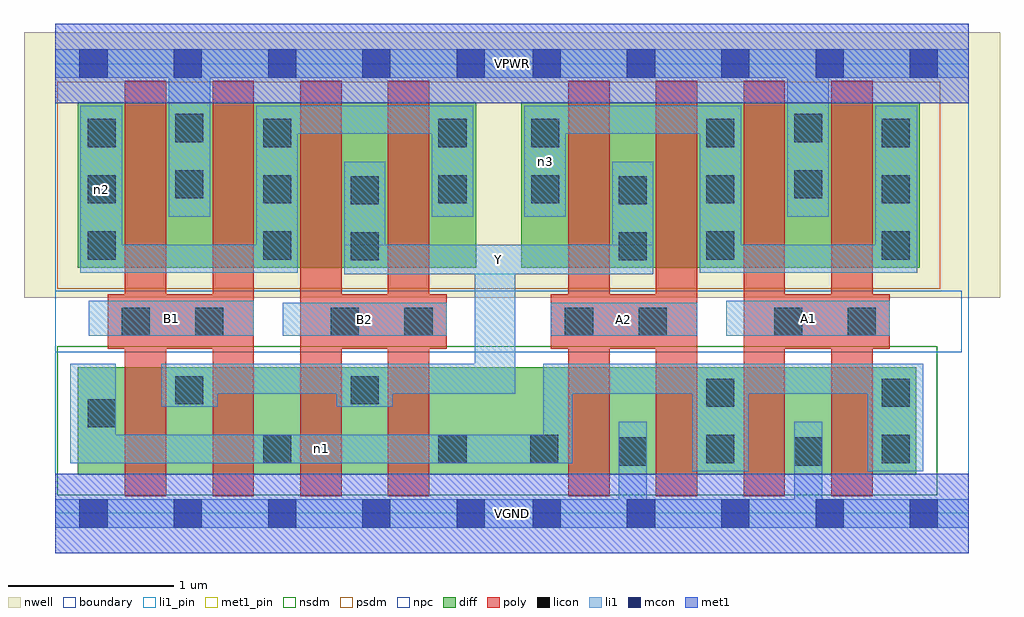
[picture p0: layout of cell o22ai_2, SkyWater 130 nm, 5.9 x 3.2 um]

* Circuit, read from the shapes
.subckt o22ai_2 A1 A2 B1 B2 VGND VPWR Y n1 n2 n3
XM1 Y B1 n1 VSUBS sky130_fd_pr__nfet_01v8 w=0.65 l=0.25 m=2
XM2 Y B2 n1 VSUBS sky130_fd_pr__nfet_01v8 w=0.65 l=0.25 m=2
XM3 VGND A2 n1 VSUBS sky130_fd_pr__nfet_01v8 w=0.65 l=0.25 m=2
XM4 VGND A1 n1 VSUBS sky130_fd_pr__nfet_01v8 w=0.65 l=0.25 m=2
XM5 VPWR B1 n2 n4 sky130_fd_pr__pfet_01v8 w=1 l=0.25 m=2
XM6 Y B2 n2 n4 sky130_fd_pr__pfet_01v8 w=1 l=0.25 m=2
XM7 Y A2 n3 n4 sky130_fd_pr__pfet_01v8 w=1 l=0.25 m=2
XM8 VPWR A1 n3 n4 sky130_fd_pr__pfet_01v8 w=1 l=0.25 m=2
.ends

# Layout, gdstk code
import gdstk
lib = gdstk.Library(unit=1e-6, precision=1e-09)
def R(c, l, rs):  # rectangles x0, y0, x1, y1
    for r in rs: c.add(gdstk.rectangle(r[:2], r[2:], *l))
def A(c, l, x, y, w, h, nx, ny, dx, dy):  # array of equal rectangles
    R(c, l, [(x+i*dx, y+j*dy, x+i*dx+w, y+j*dy+h) for i in range(nx) for j in range(ny)])
nwell = (64, 20)
diff = (65, 20)
poly = (66, 20)
licon = (66, 44)
li1_pin = (67, 16)
li1 = (67, 20)
mcon = (67, 44)
met1_pin = (68, 16)
met1 = (68, 20)
nsdm = (93, 44)
psdm = (94, 20)
npc = (95, 20)
boundary = (235, 4)

o22ai_2 = lib.new_cell('o22ai_2')
R(o22ai_2, nwell, [(-0.19,1.305,5.71,2.91), (0,1.305,5.52,2.91)])
R(o22ai_2, diff, [(0.135,0.235,5.205,0.885), (0.135,1.485,2.545,2.485), (2.815,1.485,5.225,2.485)])
A(o22ai_2, poly, 0.42, 0.105, 0.25, 2.51, 4, 1, 0.53, 0)
A(o22ai_2, poly, 3.1, 0.105, 0.25, 2.51, 4, 1, 0.53, 0)
R(o22ai_2, poly, [(0.315,0.995,1.2,1.325), (1.48,0.995,2.365,1.325), (2.995,0.995,3.88,1.325), (4.16,0.995,5.045,1.325)])
A(o22ai_2, licon, 0.195, 1.875, 0.17, 0.17, 3, 2, 1.06, 0.34)
A(o22ai_2, licon, 2.875, 1.875, 0.17, 0.17, 3, 2, 1.06, 0.34)
R(o22ai_2, licon, [(3.405,0.29,3.575,0.46), (4.465,0.29,4.635,0.46), (1.255,0.305,1.425,0.475), (2.315,0.305,2.485,0.475), (2.87,0.305,3.04,0.475), (3.935,0.305,4.105,0.475), (4.995,0.305,5.165,0.475), (0.195,0.52,0.365,0.69), (3.935,0.645,4.105,0.815), (4.995,0.645,5.165,0.815), (0.725,0.66,0.895,0.83), (1.785,0.66,1.955,0.83), (0.4,1.075,0.57,1.245), (0.845,1.075,1.015,1.245), (1.665,1.075,1.835,1.245), (2.11,1.075,2.28,1.245), (3.08,1.075,3.25,1.245), (3.525,1.075,3.695,1.245), (4.345,1.075,4.515,1.245), (4.79,1.075,4.96,1.245), (1.785,1.53,1.955,1.7), (3.405,1.53,3.575,1.7), (0.195,1.535,0.365,1.705), (1.255,1.535,1.425,1.705), (3.935,1.535,4.105,1.705), (4.995,1.535,5.165,1.705), (1.785,1.87,1.955,2.04), (3.405,1.87,3.575,2.04), (0.725,1.905,0.895,2.075), (4.465,1.905,4.635,2.075), (0.725,2.245,0.895,2.415), (4.465,2.245,4.635,2.415)])
R(o22ai_2, li1_pin, [(0.2,1.075,1.2,1.285), (1.375,1.075,2.365,1.275), (2.995,1.075,3.88,1.275), (4.055,1.075,5.045,1.285), (1.745,1.445,3.615,1.625)])
R(o22ai_2, li1, [(0,-0.085,5.52,0.085), (3.405,-0.085,3.575,0.555), (4.465,-0.085,4.635,0.555), (3.85,0.255,4.19,0.905), (4.91,0.255,5.245,0.905), (0.09,0.305,3.125,0.475), (0.09,0.305,0.365,0.905), (2.95,0.305,3.125,0.905), (0.64,0.645,0.98,0.905), (1.7,0.645,2.04,0.905), (0.64,0.725,2.78,0.905), (2.535,0.725,2.78,1.625), (2.95,0.725,5.245,0.905), (0.2,1.075,1.2,1.285), (1.375,1.075,2.365,1.275), (2.995,1.075,3.88,1.275), (4.055,1.075,5.045,1.285), (1.745,1.445,3.615,1.625), (1.745,1.445,1.995,2.125), (3.365,1.445,3.615,2.125), (0.15,1.455,0.405,2.465), (0.15,1.455,1.465,1.625), (1.215,1.455,1.465,2.465), (3.895,1.455,5.21,1.625), (3.895,1.455,4.145,2.465), (4.955,1.455,5.21,2.465), (0.685,1.795,0.935,2.805), (2.275,1.795,2.525,2.465), (2.835,1.795,3.085,2.465), (4.425,1.795,4.675,2.805), (1.215,2.295,2.525,2.465), (2.835,2.295,4.145,2.465), (0,2.635,5.52,2.805)])
A(o22ai_2, mcon, 0.145, -0.085, 0.17, 0.17, 5, 2, 0.57, 2.72)
A(o22ai_2, mcon, 2.885, -0.085, 0.17, 0.17, 5, 2, 0.57, 2.72)
R(o22ai_2, met1_pin, [(0,-0.24,5.52,0.24), (0,2.48,5.52,2.96)])
R(o22ai_2, met1, [(0,-0.24,5.52,0.24), (0,2.48,5.52,2.96)])
R(o22ai_2, nsdm, [(0.01,0.11,5.33,1.01)])
R(o22ai_2, psdm, [(0.01,1.36,5.35,2.61)])
R(o22ai_2, npc, [(0,0.975,5.48,1.345)])
R(o22ai_2, boundary, [(0,0,5.52,2.72)])
o22ai_2.add(gdstk.Label('A1', (4.55,1.18), layer=67, texttype=5))
o22ai_2.add(gdstk.Label('A2', (3.437,1.175), layer=67, texttype=5))
o22ai_2.add(gdstk.Label('B1', (0.7,1.18), layer=67, texttype=5))
o22ai_2.add(gdstk.Label('B2', (1.87,1.175), layer=67, texttype=5))
o22ai_2.add(gdstk.Label('Y', (2.68,1.535), layer=67, texttype=5))
o22ai_2.add(gdstk.Label('n1', (1.607,0.39), layer=67, texttype=5))
o22ai_2.add(gdstk.Label('n2', (0.277,1.96), layer=67, texttype=5))
o22ai_2.add(gdstk.Label('n3', (2.96,2.13), layer=67, texttype=5))
o22ai_2.add(gdstk.Label('VPWR', (2.76,2.72), layer=68, texttype=5))
o22ai_2.add(gdstk.Label('VGND', (2.76,0), layer=68, texttype=5))
o22ai_2.add(gdstk.Label('A1', (4.55,1.18), layer=67, texttype=16))
o22ai_2.add(gdstk.Label('A2', (3.437,1.175), layer=67, texttype=16))
o22ai_2.add(gdstk.Label('B1', (0.7,1.18), layer=67, texttype=16))
o22ai_2.add(gdstk.Label('B2', (1.87,1.175), layer=67, texttype=16))
o22ai_2.add(gdstk.Label('Y', (2.68,1.535), layer=67, texttype=16))
o22ai_2.add(gdstk.Label('VPWR', (2.76,2.72), layer=68, texttype=16))
o22ai_2.add(gdstk.Label('VGND', (2.76,0), layer=68, texttype=16))

lib.write_gds('o22ai_2.gds')
